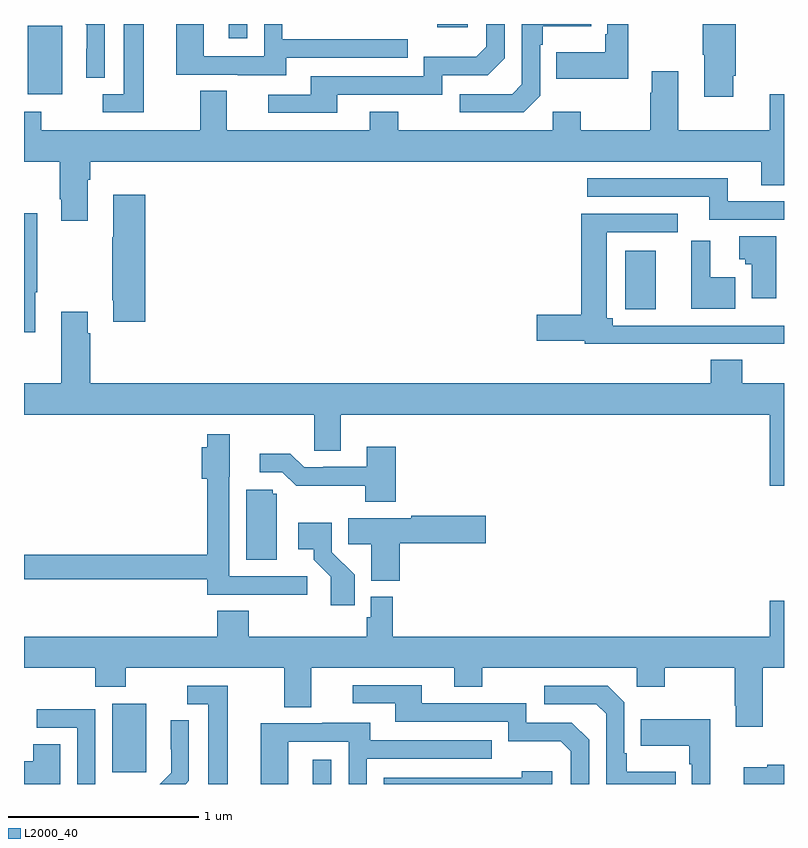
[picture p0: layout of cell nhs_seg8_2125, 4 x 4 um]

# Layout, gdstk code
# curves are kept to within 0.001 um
import gdstk
lib = gdstk.Library(unit=1e-6, precision=1e-09)
def R(c, l, rs):  # rectangles x0, y0, x1, y1
    for r in rs: c.add(gdstk.rectangle(r[:2], r[2:], *l))
def P(c, l, *ps):  # polygons
    for p in ps: c.add(gdstk.Polygon(p, *l))
L2000_40 = (2000, 40)

nhs_seg8_2125 = lib.new_cell('nhs_seg8_2125')
R(nhs_seg8_2125, L2000_40, [(246.521,1103.9,246.618,1104.028), (245.465,1103.961,245.644,1104.322), (248.165,1106.398,248.326,1106.707), (245.021,1107.53,245.2,1107.891), (246.077,1107.825,246.174,1107.9), (247.175,1107.884,247.336,1107.9)])
P(nhs_seg8_2125, L2000_40, [(248.734,1107.628),(248.747,1107.628),(248.747,1107.9),(248.572,1107.9),(248.572,1107.739),(248.579,1107.739),(248.579,1107.516),(248.734,1107.516)],
  [(245.629,1107.9),(245.525,1107.9),(245.525,1107.531),(245.415,1107.531),(245.415,1107.435),(245.629,1107.435)],
  [(246.649,1107.528),(247.2,1107.528),(247.2,1107.63),(247.44,1107.63),(247.53,1107.72),(247.53,1107.9),(247.434,1107.9),(247.434,1107.78),(247.381,1107.727),(247.104,1107.727),(247.104,1107.624),(246.509,1107.624),(246.509,1107.528),(246.285,1107.528),(246.285,1107.432),(246.649,1107.432)],
  [(247.716,1107.522),(247.716,1107.791),(247.729,1107.791),(247.729,1107.887),(247.985,1107.887),(247.985,1107.9),(247.62,1107.9),(247.62,1107.582),(247.569,1107.531),(247.293,1107.531),(247.293,1107.435),(247.629,1107.435)],
  [(248.179,1107.9),(248.07,1107.9),(248.07,1107.847),(248.058,1107.847),(248.058,1107.751),(247.801,1107.751),(247.801,1107.611),(248.179,1107.611)],
  [(245.424,1107.9),(245.323,1107.9),(245.33,1107.893),(245.33,1107.77),(245.328,1107.77),(245.328,1107.616),(245.424,1107.616)],
  [(246.379,1107.723),(247.019,1107.723),(247.019,1107.819),(246.36,1107.819),(246.36,1107.9),(246.264,1107.9),(246.264,1107.729),(245.946,1107.729),(245.946,1107.9),(245.801,1107.9),(245.801,1107.633),(246.125,1107.633),(246.125,1107.629),(246.379,1107.629)],
  [(245.335,1107.08),(245.348,1107.08),(245.348,1107.176),(248.879,1107.176),(248.879,1107.052),(249,1107.052),(249,1107.529),(248.924,1107.529),(248.924,1107.34),(248.443,1107.34),(248.443,1107.652),(248.303,1107.652),(248.303,1107.539),(248.296,1107.539),(248.296,1107.34),(247.929,1107.34),(247.929,1107.439),(247.782,1107.439),(247.782,1107.34),(246.969,1107.34),(246.969,1107.439),(246.821,1107.439),(246.821,1107.34),(246.067,1107.34),(246.067,1107.548),(245.927,1107.548),(245.927,1107.34),(245.091,1107.34),(245.091,1107.439),(245,1107.439),(245,1107.176),(245.188,1107.176),(245.188,1106.977),(245.195,1106.977),(245.195,1106.865),(245.335,1106.865)],
  [(249,1106.967),(248.704,1106.967),(248.704,1107.087),(247.965,1107.087),(247.965,1106.991),(248.606,1106.991),(248.606,1106.871),(249,1106.871)],
  [(245.639,1107.001),(245.471,1107.001),(245.471,1106.777),(245.464,1106.777),(245.464,1106.446),(245.471,1106.446),(245.471,1106.334),(245.639,1106.334)],
  [(245.059,1106.489),(245.071,1106.489),(245.071,1106.905),(245,1106.905),(245,1106.277),(245.059,1106.277)],
  [(248.531,1106.217),(248.863,1106.217),(248.863,1106.216),(249,1106.216),(249,1106.313),(248.098,1106.313),(248.098,1106.352),(248.068,1106.352),(248.068,1106.805),(248.44,1106.805),(248.44,1106.901),(247.934,1106.901),(247.934,1106.369),(247.698,1106.369),(247.698,1106.234),(247.95,1106.234),(247.95,1106.216),(248.531,1106.216)],
  [(248.959,1106.782),(248.765,1106.782),(248.765,1106.663),(248.796,1106.663),(248.796,1106.635),(248.831,1106.635),(248.831,1106.457),(248.959,1106.457)],
  [(248.743,1106.568),(248.611,1106.568),(248.611,1106.758),(248.513,1106.758),(248.513,1106.402),(248.743,1106.402)],
  [(249,1106.008),(248.78,1106.008),(248.78,1106.132),(248.615,1106.132),(248.615,1106.008),(245.348,1106.008),(245.348,1106.273),(245.335,1106.273),(245.335,1106.386),(245.195,1106.386),(245.195,1106.008),(245,1106.008),(245,1105.844),(246.528,1105.844),(246.528,1105.654),(246.667,1105.654),(246.667,1105.844),(248.924,1105.844),(248.924,1105.47),(249,1105.47)],
  [(246.49,1104.993),(246.081,1104.993),(246.081,1105.518),(246.082,1105.518),(246.082,1105.741),(245.965,1105.741),(245.965,1105.672),(245.936,1105.672),(245.936,1105.507),(245.965,1105.507),(245.965,1105.106),(245,1105.106),(245,1104.978),(245.965,1104.978),(245.965,1104.897),(246.265,1104.897),(246.265,1104.895),(246.49,1104.895)],
  [(246.956,1105.675),(246.803,1105.675),(246.803,1105.569),(246.574,1105.569),(246.574,1105.566),(246.474,1105.566),(246.401,1105.639),(246.24,1105.639),(246.24,1105.542),(246.36,1105.542),(246.433,1105.469),(246.796,1105.47),(246.796,1105.385),(246.956,1105.385)],
  [(246.331,1105.428),(246.309,1105.428),(246.309,1105.449),(246.17,1105.449),(246.17,1105.08),(246.331,1105.08)],
  [(246.977,1105.166),(247.429,1105.166),(247.429,1105.313),(247.039,1105.313),(247.039,1105.3),(246.706,1105.3),(246.706,1105.162),(246.827,1105.162),(246.827,1104.971),(246.977,1104.971)],
  [(246.74,1105.002),(246.621,1105.121),(246.621,1105.276),(246.444,1105.276),(246.444,1105.136),(246.524,1105.136),(246.524,1105.081),(246.615,1104.991),(246.615,1104.84),(246.74,1104.84)],
  [(248.887,1104.512),(249,1104.512),(249,1104.865),(248.924,1104.865),(248.924,1104.676),(246.941,1104.676),(246.941,1104.886),(246.825,1104.886),(246.825,1104.777),(246.805,1104.777),(246.805,1104.676),(246.182,1104.676),(246.182,1104.812),(246.017,1104.812),(246.017,1104.676),(245,1104.676),(245,1104.512),(245.375,1104.512),(245.375,1104.413),(245.535,1104.413),(245.535,1104.512),(246.371,1104.512),(246.371,1104.304),(246.511,1104.304),(246.511,1104.512),(247.265,1104.512),(247.265,1104.413),(247.413,1104.413),(247.413,1104.512),(248.226,1104.512),(248.226,1104.413),(248.373,1104.413),(248.373,1104.512),(248.74,1104.512),(248.74,1104.313),(248.747,1104.313),(248.747,1104.201),(248.887,1104.201)],
  [(247.974,1104.132),(247.884,1104.222),(247.644,1104.222),(247.644,1104.324),(247.093,1104.324),(247.093,1104.42),(246.729,1104.42),(246.729,1104.324),(246.953,1104.324),(246.953,1104.228),(247.548,1104.228),(247.548,1104.125),(247.825,1104.125),(247.878,1104.072),(247.878,1103.9),(247.974,1103.9)],
  [(248.429,1103.965),(248.173,1103.965),(248.173,1104.061),(248.16,1104.061),(248.16,1104.33),(248.073,1104.417),(247.737,1104.417),(247.737,1104.321),(248.013,1104.321),(248.064,1104.27),(248.064,1103.9),(248.429,1103.9)],
  [(246.073,1104.417),(245.859,1104.417),(245.859,1104.321),(245.969,1104.321),(245.969,1103.9),(246.073,1103.9)],
  [(245.376,1104.294),(245.067,1104.294),(245.067,1104.195),(245.28,1104.195),(245.28,1103.9),(245.376,1103.9)],
  [(248.611,1104.241),(248.245,1104.241),(248.245,1104.101),(248.502,1104.101),(248.502,1104.005),(248.514,1104.005),(248.514,1103.9),(248.611,1103.9)],
  [(245.868,1103.918),(245.868,1104.236),(245.772,1104.236),(245.772,1104.082),(245.774,1104.082),(245.774,1103.96),(245.714,1103.9),(245.85,1103.9)],
  [(246.39,1104.123),(246.708,1104.123),(246.708,1103.9),(246.804,1103.9),(246.804,1104.033),(247.463,1104.033),(247.463,1104.129),(246.823,1104.129),(246.823,1104.223),(246.569,1104.223),(246.569,1104.219),(246.245,1104.219),(246.245,1103.9),(246.39,1103.9)],
  [(245.191,1104.11),(245.048,1104.11),(245.048,1104.02),(245,1104.02),(245,1103.9),(245.191,1103.9)],
  [(249,1104.002),(248.913,1104.002),(248.913,1103.989),(248.787,1103.989),(248.787,1103.9),(249,1103.9)],
  [(247.78,1103.968),(247.619,1103.968),(247.619,1103.934),(246.894,1103.934),(246.894,1103.9),(247.78,1103.9)])

lib.write_gds('nhs_seg8_2125.gds')
